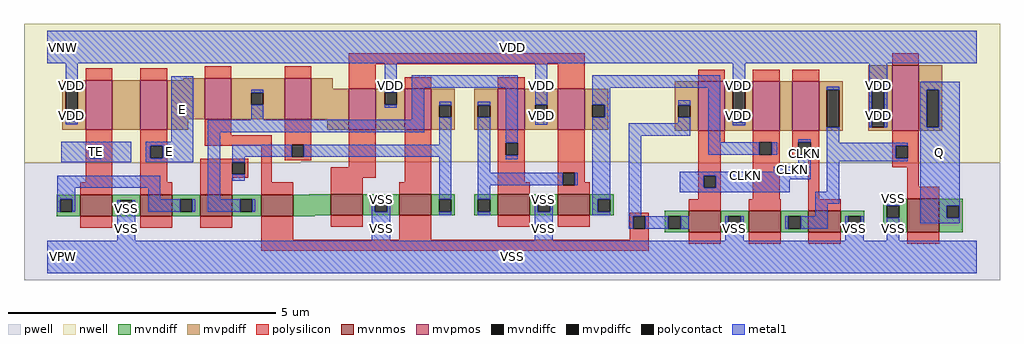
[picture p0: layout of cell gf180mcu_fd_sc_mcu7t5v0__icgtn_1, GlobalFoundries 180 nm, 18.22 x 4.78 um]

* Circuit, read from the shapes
.subckt gf180mcu_fd_sc_mcu7t5v0__icgtn_1 CLKN E TE Q VDD VNW VPW VSS
XM1 VSS TE n1 VPW nfet_06v0 w=0.395u l=0.6u
XM2 n1 E VSS VPW nfet_06v0 w=0.395u l=0.6u
XM3 n2 n3 n1 VPW nfet_06v0 w=0.395u l=0.6u
XM4 n4 n5 n2 VPW nfet_06v0 w=0.395u l=0.6u
XM5 VSS n6 n4 VPW nfet_06v0 w=0.395u l=0.6u
XM6 n3 n5 VSS VPW nfet_06v0 w=0.395u l=0.6u
XM7 VSS n2 n6 VPW nfet_06v0 w=0.395u l=0.6u
XM8 n7 n6 VSS VPW nfet_06v0 w=0.395u l=0.6u
XM9 VSS CLKN n5 VPW nfet_06v0 w=0.395u l=0.6u
XM10 n8 n7 VSS VPW nfet_06v0 w=0.395u l=0.6u
XM11 VSS CLKN n8 VPW nfet_06v0 w=0.395u l=0.6u
XM12 Q n8 VSS VPW nfet_06v0 w=0.625u l=0.6u
XM13 n9 TE VDD VNW pfet_06v0 w=0.925u l=0.5u
XM14 n10 E n9 VNW pfet_06v0 w=0.925u l=0.5u
XM15 n2 n5 n10 VNW pfet_06v0 w=0.765u l=0.5u
XM16 n11 n3 n2 VNW pfet_06v0 w=0.765u l=0.5u
XM17 VDD n6 n11 VNW pfet_06v0 w=0.765u l=0.5u
XM18 n3 n5 VDD VNW pfet_06v0 w=0.765u l=0.5u
XM19 VDD n2 n6 VNW pfet_06v0 w=0.765u l=0.5u
XM20 n7 n6 VDD VNW pfet_06v0 w=0.765u l=0.5u
XM21 VDD CLKN n5 VNW pfet_06v0 w=0.92u l=0.5u
XM22 n12 n7 VDD VNW pfet_06v0 w=0.92u l=0.5u
XM23 n8 CLKN n12 VNW pfet_06v0 w=0.92u l=0.5u
XM24 Q n8 VDD VNW pfet_06v0 w=1.22u l=0.5u
.ends

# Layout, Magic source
magic
tech gf180mcuD
magscale 1 10
<< nwell >>
rect -86 355 3558 870
rect -86 352 947 355
rect 2176 352 3558 355
<< pwell >>
rect 947 352 2176 355
rect -86 -86 3558 352
<< mvnmos >>
rect 124 153 244 232
rect 348 153 468 232
rect 572 153 692 232
rect 799 153 919 232
rect 1059 156 1179 235
rect 1315 156 1435 235
rect 1683 156 1803 235
rect 1907 156 2027 235
rect 2395 93 2515 172
rect 2619 93 2739 172
rect 2843 93 2963 172
rect 3211 93 3331 218
<< mvpmos >>
rect 144 475 244 660
rect 348 475 448 660
rect 588 515 688 668
rect 887 515 987 668
rect 1127 475 1227 628
rect 1335 475 1435 628
rect 1683 475 1783 628
rect 1907 475 2007 628
rect 2431 472 2531 656
rect 2635 472 2735 656
rect 2783 472 2883 656
rect 3155 472 3255 716
<< mvndiff >>
rect 979 232 1059 235
rect 36 215 124 232
rect 36 169 49 215
rect 95 169 124 215
rect 36 153 124 169
rect 244 212 348 232
rect 244 166 273 212
rect 319 166 348 212
rect 244 153 348 166
rect 468 215 572 232
rect 468 169 497 215
rect 543 169 572 215
rect 468 153 572 169
rect 692 215 799 232
rect 692 169 721 215
rect 767 169 799 215
rect 692 153 799 169
rect 919 156 1059 232
rect 1179 215 1315 235
rect 1179 169 1224 215
rect 1270 169 1315 215
rect 1179 156 1315 169
rect 1435 215 1523 235
rect 1435 169 1464 215
rect 1510 169 1523 215
rect 1435 156 1523 169
rect 1595 215 1683 235
rect 1595 169 1608 215
rect 1654 169 1683 215
rect 1595 156 1683 169
rect 1803 215 1907 235
rect 1803 169 1832 215
rect 1878 169 1907 215
rect 1803 156 1907 169
rect 2027 215 2115 235
rect 2027 169 2056 215
rect 2102 169 2115 215
rect 3123 192 3211 218
rect 2027 156 2115 169
rect 919 153 999 156
rect 2307 152 2395 172
rect 2307 106 2320 152
rect 2366 106 2395 152
rect 2307 93 2395 106
rect 2515 152 2619 172
rect 2515 106 2544 152
rect 2590 106 2619 152
rect 2515 93 2619 106
rect 2739 152 2843 172
rect 2739 106 2768 152
rect 2814 106 2843 152
rect 2739 93 2843 106
rect 2963 152 3051 172
rect 2963 106 2992 152
rect 3038 106 3051 152
rect 2963 93 3051 106
rect 3123 146 3136 192
rect 3182 146 3211 192
rect 3123 93 3211 146
rect 3331 192 3419 218
rect 3331 146 3360 192
rect 3406 146 3419 192
rect 3331 93 3419 146
<< mvpdiff >>
rect 508 660 588 668
rect 56 647 144 660
rect 56 507 69 647
rect 115 507 144 647
rect 56 475 144 507
rect 244 475 348 660
rect 448 515 588 660
rect 688 614 887 668
rect 688 568 762 614
rect 808 568 887 614
rect 688 515 887 568
rect 987 628 1067 668
rect 987 515 1127 628
rect 448 475 528 515
rect 1047 475 1127 515
rect 1227 615 1335 628
rect 1227 569 1260 615
rect 1306 569 1335 615
rect 1227 475 1335 569
rect 1435 567 1523 628
rect 1435 521 1464 567
rect 1510 521 1523 567
rect 1435 475 1523 521
rect 1595 567 1683 628
rect 1595 521 1608 567
rect 1654 521 1683 567
rect 1595 475 1683 521
rect 1783 568 1907 628
rect 1783 522 1822 568
rect 1868 522 1907 568
rect 1783 475 1907 522
rect 2007 568 2095 628
rect 2007 522 2036 568
rect 2082 522 2095 568
rect 2007 475 2095 522
rect 2343 567 2431 656
rect 2343 521 2356 567
rect 2402 521 2431 567
rect 2343 472 2431 521
rect 2531 643 2635 656
rect 2531 503 2560 643
rect 2606 503 2635 643
rect 2531 472 2635 503
rect 2735 472 2783 656
rect 2883 625 2971 656
rect 2883 485 2912 625
rect 2958 485 2971 625
rect 2883 472 2971 485
rect 3067 625 3155 716
rect 3067 485 3080 625
rect 3126 485 3155 625
rect 3067 472 3155 485
rect 3255 625 3343 716
rect 3255 485 3284 625
rect 3330 485 3343 625
rect 3255 472 3343 485
<< mvndiffc >>
rect 49 169 95 215
rect 273 166 319 212
rect 497 169 543 215
rect 721 169 767 215
rect 1224 169 1270 215
rect 1464 169 1510 215
rect 1608 169 1654 215
rect 1832 169 1878 215
rect 2056 169 2102 215
rect 2320 106 2366 152
rect 2544 106 2590 152
rect 2768 106 2814 152
rect 2992 106 3038 152
rect 3136 146 3182 192
rect 3360 146 3406 192
<< mvpdiffc >>
rect 69 507 115 647
rect 762 568 808 614
rect 1260 569 1306 615
rect 1464 521 1510 567
rect 1608 521 1654 567
rect 1822 522 1868 568
rect 2036 522 2082 568
rect 2356 521 2402 567
rect 2560 503 2606 643
rect 2912 485 2958 625
rect 3080 485 3126 625
rect 3284 485 3330 625
<< polysilicon >>
rect 1127 720 2007 760
rect 144 660 244 704
rect 348 660 448 704
rect 588 668 688 712
rect 887 668 987 712
rect 1127 628 1227 720
rect 1335 628 1435 672
rect 1683 628 1783 672
rect 1907 628 2007 720
rect 3155 716 3255 760
rect 2431 656 2531 700
rect 2635 656 2735 700
rect 2783 656 2883 700
rect 144 415 244 475
rect 144 369 159 415
rect 205 369 244 415
rect 144 279 244 369
rect 124 232 244 279
rect 348 415 448 475
rect 588 455 688 515
rect 588 415 839 455
rect 348 369 386 415
rect 432 369 448 415
rect 348 279 448 369
rect 572 354 751 367
rect 572 308 692 354
rect 738 308 751 354
rect 572 295 751 308
rect 348 232 468 279
rect 572 232 692 295
rect 799 279 839 415
rect 887 420 987 515
rect 887 374 913 420
rect 959 374 987 420
rect 887 361 987 374
rect 1127 335 1227 475
rect 1059 295 1227 335
rect 799 232 919 279
rect 1059 235 1179 295
rect 1335 279 1435 475
rect 1315 235 1435 279
rect 1683 426 1783 475
rect 1683 380 1712 426
rect 1758 380 1783 426
rect 1683 279 1783 380
rect 1907 314 2007 475
rect 1683 235 1803 279
rect 1907 268 1925 314
rect 1971 279 2007 314
rect 2431 427 2531 472
rect 2635 428 2735 472
rect 2431 304 2515 427
rect 1971 268 2027 279
rect 1907 235 2027 268
rect 2431 258 2451 304
rect 2497 258 2515 304
rect 2431 216 2515 258
rect 2635 382 2659 428
rect 2705 382 2735 428
rect 2635 216 2735 382
rect 2783 428 2883 472
rect 2783 382 2805 428
rect 2851 382 2883 428
rect 2783 369 2883 382
rect 2843 216 2883 369
rect 3155 415 3255 472
rect 3155 369 3168 415
rect 3214 369 3255 415
rect 3155 335 3255 369
rect 3211 262 3255 335
rect 3211 218 3331 262
rect 2395 172 2515 216
rect 2619 172 2739 216
rect 2843 172 2963 216
rect 124 109 244 153
rect 348 109 468 153
rect 572 109 692 153
rect 799 64 919 153
rect 1059 112 1179 156
rect 1315 64 1435 156
rect 1683 112 1803 156
rect 1907 112 2027 156
rect 2175 152 2247 165
rect 2175 106 2188 152
rect 2234 106 2247 152
rect 2175 64 2247 106
rect 799 24 2247 64
rect 2395 49 2515 93
rect 2619 49 2739 93
rect 2843 49 2963 93
rect 3211 49 3331 93
<< polycontact >>
rect 159 369 205 415
rect 386 369 432 415
rect 692 308 738 354
rect 913 374 959 420
rect 1712 380 1758 426
rect 1925 268 1971 314
rect 2451 258 2497 304
rect 2659 382 2705 428
rect 2805 382 2851 428
rect 3168 369 3214 415
rect 2188 106 2234 152
<< metal1 >>
rect 0 724 3472 844
rect 69 647 115 724
rect 69 496 115 507
rect 464 430 546 674
rect 762 614 808 625
rect 762 512 808 568
rect 1260 615 1306 724
rect 1260 558 1306 569
rect 1362 632 1758 678
rect 1362 512 1408 632
rect 54 415 314 430
rect 54 369 159 415
rect 205 369 314 415
rect 54 354 314 369
rect 369 415 546 430
rect 369 369 386 415
rect 432 369 546 415
rect 369 354 546 369
rect 600 466 1408 512
rect 1464 567 1510 580
rect 38 258 423 304
rect 38 215 106 258
rect 38 169 49 215
rect 95 169 106 215
rect 377 215 423 258
rect 600 215 646 466
rect 1464 420 1510 521
rect 692 374 913 420
rect 959 374 1510 420
rect 692 354 738 374
rect 692 284 738 308
rect 1464 215 1510 374
rect 262 166 273 212
rect 319 166 330 212
rect 377 169 497 215
rect 543 169 554 215
rect 600 169 721 215
rect 767 169 778 215
rect 1213 169 1224 215
rect 1270 169 1281 215
rect 262 60 330 166
rect 1213 60 1281 169
rect 1464 156 1510 169
rect 1608 567 1654 580
rect 1608 315 1654 521
rect 1712 426 1758 632
rect 1822 568 1868 724
rect 1822 494 1868 522
rect 2036 632 2514 678
rect 2036 568 2102 632
rect 2082 522 2102 568
rect 1712 364 1758 380
rect 1608 314 1982 315
rect 1608 268 1925 314
rect 1971 268 1982 314
rect 1608 215 1654 268
rect 2036 215 2102 522
rect 2356 567 2402 586
rect 2356 499 2402 521
rect 1608 156 1654 169
rect 1821 169 1832 215
rect 1878 169 1889 215
rect 1821 60 1889 169
rect 2036 169 2056 215
rect 2036 156 2102 169
rect 2172 452 2402 499
rect 2172 152 2218 452
rect 2468 428 2514 632
rect 2560 643 2606 724
rect 2560 492 2606 503
rect 2912 625 2958 636
rect 3069 625 3137 724
rect 3069 485 3080 625
rect 3126 485 3137 625
rect 3260 625 3407 654
rect 3260 485 3284 625
rect 3330 485 3407 625
rect 2805 428 2851 439
rect 2468 382 2659 428
rect 2705 382 2726 428
rect 2805 336 2851 382
rect 2714 318 2851 336
rect 2362 304 2851 318
rect 2362 258 2451 304
rect 2497 290 2851 304
rect 2912 426 2958 485
rect 2912 415 3214 426
rect 2912 369 3168 415
rect 2912 358 3214 369
rect 2497 258 2773 290
rect 2362 242 2773 258
rect 2912 244 2958 358
rect 2868 198 2958 244
rect 2868 152 2914 198
rect 3136 192 3182 219
rect 2172 106 2188 152
rect 2234 106 2320 152
rect 2366 106 2395 152
rect 2533 106 2544 152
rect 2590 106 2601 152
rect 2757 106 2768 152
rect 2814 106 2914 152
rect 2981 106 2992 152
rect 3038 106 3049 152
rect 2533 60 2601 106
rect 2981 60 3049 106
rect 3136 60 3182 146
rect 3260 192 3407 485
rect 3260 146 3360 192
rect 3406 146 3407 192
rect 3260 126 3407 146
rect 0 -60 3472 60
<< labels >>
flabel metal1 s 3260 126 3407 654 0 FreeSans 400 0 0 0 Q
port 4 nsew default output
flabel metal1 s 54 354 314 430 0 FreeSans 400 0 0 0 TE
port 3 nsew default input
flabel metal1 s 0 724 3472 844 0 FreeSans 400 0 0 0 VDD
port 5 nsew power bidirectional abutment
flabel metal1 s 3136 215 3182 219 0 FreeSans 400 0 0 0 VSS
port 8 nsew ground bidirectional abutment
flabel metal1 s 2805 336 2851 439 0 FreeSans 400 0 0 0 CLKN
port 1 nsew clock input
flabel metal1 s 464 430 546 674 0 FreeSans 400 0 0 0 E
port 2 nsew default input
flabel nwell s 10 734 110 834 0 FreeSans 400 0 0 0 VNW
port 6 nsew power bidirectional
flabel pwell s 10 -50 110 50 0 FreeSans 400 0 0 0 VPW
port 7 nsew ground bidirectional
rlabel metal1 s 2714 318 2851 336 1 CLKN
port 1 nsew clock input
rlabel metal1 s 2362 290 2851 318 1 CLKN
port 1 nsew clock input
rlabel metal1 s 2362 242 2773 290 1 CLKN
port 1 nsew clock input
rlabel metal1 s 369 354 546 430 1 E
port 2 nsew default input
rlabel metal1 s 3069 558 3137 724 1 VDD
port 5 nsew power bidirectional abutment
rlabel metal1 s 2560 558 2606 724 1 VDD
port 5 nsew power bidirectional abutment
rlabel metal1 s 1822 558 1868 724 1 VDD
port 5 nsew power bidirectional abutment
rlabel metal1 s 1260 558 1306 724 1 VDD
port 5 nsew power bidirectional abutment
rlabel metal1 s 69 558 115 724 1 VDD
port 5 nsew power bidirectional abutment
rlabel metal1 s 3069 496 3137 558 1 VDD
port 5 nsew power bidirectional abutment
rlabel metal1 s 2560 496 2606 558 1 VDD
port 5 nsew power bidirectional abutment
rlabel metal1 s 1822 496 1868 558 1 VDD
port 5 nsew power bidirectional abutment
rlabel metal1 s 69 496 115 558 1 VDD
port 5 nsew power bidirectional abutment
rlabel metal1 s 3069 494 3137 496 1 VDD
port 5 nsew power bidirectional abutment
rlabel metal1 s 2560 494 2606 496 1 VDD
port 5 nsew power bidirectional abutment
rlabel metal1 s 1822 494 1868 496 1 VDD
port 5 nsew power bidirectional abutment
rlabel metal1 s 3069 492 3137 494 1 VDD
port 5 nsew power bidirectional abutment
rlabel metal1 s 2560 492 2606 494 1 VDD
port 5 nsew power bidirectional abutment
rlabel metal1 s 3069 485 3137 492 1 VDD
port 5 nsew power bidirectional abutment
rlabel metal1 s 3136 212 3182 215 1 VSS
port 8 nsew ground bidirectional abutment
rlabel metal1 s 1821 212 1889 215 1 VSS
port 8 nsew ground bidirectional abutment
rlabel metal1 s 1213 212 1281 215 1 VSS
port 8 nsew ground bidirectional abutment
rlabel metal1 s 3136 152 3182 212 1 VSS
port 8 nsew ground bidirectional abutment
rlabel metal1 s 1821 152 1889 212 1 VSS
port 8 nsew ground bidirectional abutment
rlabel metal1 s 1213 152 1281 212 1 VSS
port 8 nsew ground bidirectional abutment
rlabel metal1 s 262 152 330 212 1 VSS
port 8 nsew ground bidirectional abutment
rlabel metal1 s 3136 60 3182 152 1 VSS
port 8 nsew ground bidirectional abutment
rlabel metal1 s 2981 60 3049 152 1 VSS
port 8 nsew ground bidirectional abutment
rlabel metal1 s 2533 60 2601 152 1 VSS
port 8 nsew ground bidirectional abutment
rlabel metal1 s 1821 60 1889 152 1 VSS
port 8 nsew ground bidirectional abutment
rlabel metal1 s 1213 60 1281 152 1 VSS
port 8 nsew ground bidirectional abutment
rlabel metal1 s 262 60 330 152 1 VSS
port 8 nsew ground bidirectional abutment
rlabel metal1 s 0 -60 3472 60 1 VSS
port 8 nsew ground bidirectional abutment
<< properties >>
string FIXED_BBOX 0 0 3472 784
string GDS_END 433888
string GDS_FILE $PDKPATH/libs.ref/gf180mcu_fd_sc_mcu7t5v0/gds/gf180mcu_fd_sc_mcu7t5v0.gds
string GDS_START 426350
string LEFclass core
string LEFsite GF018hv5v_mcu_sc7
string LEFsymmetry X Y
<< end >>
